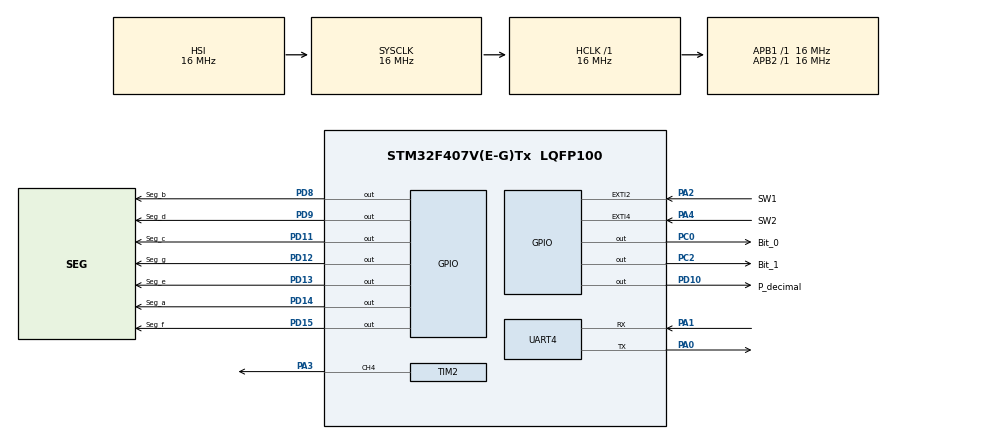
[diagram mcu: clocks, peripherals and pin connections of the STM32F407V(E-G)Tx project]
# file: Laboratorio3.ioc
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Mcu.Family=STM32F4
Mcu.Name=STM32F407V(E-G)Tx
Mcu.Package=LQFP100
NVIC.EXTI2_IRQn=true\:0\:0\:false\:false\:true\:true\:true\:true
NVIC.EXTI4_IRQn=true\:0\:0\:false\:false\:true\:true\:true\:true
NVIC.PriorityGroup=NVIC_PRIORITYGROUP_4
NVIC.TIM1_UP_TIM10_IRQn=true\:0\:0\:false\:false\:true\:true\:true\:true
NVIC.UART4_IRQn=true\:0\:0\:false\:false\:true\:true\:true\:true
PA0-WKUP.Mode=Asynchronous
PA0-WKUP.Signal=UART4_TX
PA1.Mode=Asynchronous
PA1.Signal=UART4_RX
PA2.GPIO_Label=SW1
PA2.GPIO_ModeDefaultEXTI=GPIO_MODE_IT_FALLING
PA2.Signal=GPXTI2
PA3.Signal=S_TIM2_CH4
PA4.GPIO_Label=SW2
PA4.GPIO_ModeDefaultEXTI=GPIO_MODE_IT_FALLING
PA4.Signal=GPXTI4
PC0.GPIO_Label=Bit_0
PC0.Signal=GPIO_Output
PC2.GPIO_Label=Bit_1
PC2.Signal=GPIO_Output
PD10.GPIO_Label=P_decimal
PD10.Signal=GPIO_Output
PD11.GPIO_Label=Seg_c
PD11.Signal=GPIO_Output
PD12.GPIO_Label=Seg_g
PD12.Signal=GPIO_Output
PD13.GPIO_Label=Seg_e
PD13.Signal=GPIO_Output
PD14.GPIO_Label=Seg_a
PD14.Signal=GPIO_Output
PD15.GPIO_Label=Seg_f
PD15.Signal=GPIO_Output
PD8.GPIO_Label=Seg_b
PD8.Signal=GPIO_Output
PD9.GPIO_Label=Seg_d
PD9.Signal=GPIO_Output
ProjectManager.HeapSize=0x200
ProjectManager.StackSize=0x400
ProjectManager.TargetToolchain=STM32CubeIDE
RCC.AHBFreq_Value=16000000
RCC.APB1Freq_Value=16000000
RCC.APB2Freq_Value=16000000
RCC.CortexFreq_Value=16000000
RCC.HSE_VALUE=25000000
RCC.HSI_VALUE=16000000
RCC.LSE_VALUE=32768
RCC.SYSCLKFreq_VALUE=16000000
RCC.VCOOutputFreq_Value=192000000
SH.S_TIM2_CH4.0=TIM2_CH4,PWM Generation4 CH4
TIM1.Period=31999
TIM2.Channel-PWM\ Generation4\ CH4=TIM_CHANNEL_4
TIM2.Period=7999
TIM2.Pulse-PWM\ Generation4\ CH4=4000
UART4.VirtualMode=Asynchronous
UART4.WordLength=WORDLENGTH_8B
VP_TIM1_VS_ClockSourceINT.Mode=Internal
VP_TIM2_VS_ClockSourceINT.Mode=Internal
board=custom

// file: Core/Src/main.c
/* USER CODE BEGIN Header */
/**
 ******************************************************************************
 * @file           : main.c
 * @brief          : Main program body
 ******************************************************************************
 * @attention
 *
 * Copyright (c) 2026 STMicroelectronics.
 * All rights reserved.
 *
 * This software is licensed under terms that can be found in the LICENSE file
 * in the root directory of this software component.
 * If no LICENSE file comes with this software, it is provided AS-IS.
 *
 ******************************************************************************
 */
/* USER CODE END Header */
#include "main.h"

/* USER CODE BEGIN Includes */
#include "uart.h"
#include "contador_display.h"
/* USER CODE END Includes */

/* USER CODE BEGIN PD */
#define T_REBOTE_MS 50U
/* USER CODE END PD */

TIM_HandleTypeDef htim1;
TIM_HandleTypeDef htim2;

UART_HandleTypeDef huart4;

/* USER CODE BEGIN PV */
volatile bool cambio = false;
volatile bool runtime = false;
volatile bool sw1 = false;
volatile bool sw2 = false;
volatile uint32_t last_sw1 = 0;
volatile uint32_t last_sw2 = 0;
volatile uint8_t indice = 0;
volatile uint8_t instruccion[10];
volatile bool fin_instruccion = false;
volatile bool fin_cronometro = false;
int segundos_recibidos = 0;
uint8_t mensaje;
uint8_t cronometro = 0;
uint8_t centesima = 0;
uint8_t segundos = 0;
uint8_t minutos = 0;
uint8_t alarma[] = "ALARMA\n";
uint8_t display[4] = {
		0,
		0,
		0,
		0
};
/* USER CODE END PV */

void SystemClock_Config(void);
static void MX_GPIO_Init(void);
static void MX_TIM1_Init(void);
static void MX_UART4_Init(void);
static void MX_TIM2_Init(void);
/* USER CODE BEGIN PFP */
//bool HayNuevaPulsacion(GPIO_TypeDef* PULSADOR,uint16_t PIN, GPIO_PinState* estado_valido);
/* USER CODE END PFP */

int main(void)
{

  /* USER CODE BEGIN 1 */
	//GPIO_PinState estado_valido1 = GPIO_PIN_SET;
	//GPIO_PinState estado_valido2 = GPIO_PIN_SET;

	uint32_t current_time1 = 0;
	uint32_t current_time2 = 0;
  /* USER CODE END 1 */

  /* MCU Configuration--------------------------------------------------------*/

  /* Reset of all peripherals, Initializes the Flash interface and the Systick. */
  HAL_Init();

  /* USER CODE BEGIN Init */
  __HAL_UART_CLEAR_OREFLAG(&huart4);
  __HAL_UART_FLUSH_DRREGISTER(&huart4);
  /* USER CODE END Init */

  /* Configure the system clock */
  SystemClock_Config();

  /* Initialize all configured peripherals */
  MX_GPIO_Init();
  MX_TIM1_Init();
  MX_UART4_Init();
  MX_TIM2_Init();
  /* USER CODE BEGIN 2 */
	HAL_TIM_Base_Start_IT(&htim1);
	HAL_UART_Receive_IT(&huart4, &mensaje, sizeof(uint8_t));
  /* USER CODE END 2 */

  /* Infinite loop */
  /* USER CODE BEGIN WHILE */
	while (1)
	{
		if(fin_instruccion)
		{
			ejecutar_instruccion();
		}
		if(sw1)
		{
			current_time1 = HAL_GetTick();
			if(current_time1-last_sw1 > T_REBOTE_MS)
			{
				if(HAL_GPIO_ReadPin(SW1_GPIO_Port, SW1_Pin) == GPIO_PIN_RESET)
				{
					if(runtime)
					{
						start_pause(2);
					}
					else
					{
						start_pause(1);
					}
				}
				sw1 = false;
				__HAL_GPIO_EXTI_CLEAR_IT(SW1_Pin);
				HAL_NVIC_ClearPendingIRQ(EXTI2_IRQn);
				HAL_NVIC_EnableIRQ(EXTI2_IRQn);
			}
		}
		if(sw2)
		{
			current_time2 = HAL_GetTick();
			if(current_time2-last_sw2 > T_REBOTE_MS)
			{
				if(HAL_GPIO_ReadPin(SW2_GPIO_Port, SW2_Pin) == GPIO_PIN_RESET && runtime == false)
				{
					restart();
				}
				sw2 = false;
				__HAL_GPIO_EXTI_CLEAR_IT(SW2_Pin);
				HAL_NVIC_ClearPendingIRQ(EXTI4_IRQn);
				HAL_NVIC_EnableIRQ(EXTI4_IRQn);
			}
		}
    /* USER CODE END WHILE */

	}
}

void SystemClock_Config(void)
{
  RCC_OscInitTypeDef RCC_OscInitStruct = {0};
  RCC_ClkInitTypeDef RCC_ClkInitStruct = {0};

  /** Configure the main internal regulator output voltage
  */
  __HAL_RCC_PWR_CLK_ENABLE();
  __HAL_PWR_VOLTAGESCALING_CONFIG(PWR_REGULATOR_VOLTAGE_SCALE1);

  /** Initializes the RCC Oscillators according to the specified parameters
  * in the RCC_OscInitTypeDef structure.
  */
  RCC_OscInitStruct.OscillatorType = RCC_OSCILLATORTYPE_HSI;
  RCC_OscInitStruct.HSIState = RCC_HSI_ON;
  RCC_OscInitStruct.HSICalibrationValue = RCC_HSICALIBRATION_DEFAULT;
  RCC_OscInitStruct.PLL.PLLState = RCC_PLL_NONE;
  if (HAL_RCC_OscConfig(&RCC_OscInitStruct) != HAL_OK)
  {
    Error_Handler();
  }

  /** Initializes the CPU, AHB and APB buses clocks
  */
  RCC_ClkInitStruct.ClockType = RCC_CLOCKTYPE_HCLK|RCC_CLOCKTYPE_SYSCLK
                              |RCC_CLOCKTYPE_PCLK1|RCC_CLOCKTYPE_PCLK2;
  RCC_ClkInitStruct.SYSCLKSource = RCC_SYSCLKSOURCE_HSI;
  RCC_ClkInitStruct.AHBCLKDivider = RCC_SYSCLK_DIV1;
  RCC_ClkInitStruct.APB1CLKDivider = RCC_HCLK_DIV1;
  RCC_ClkInitStruct.APB2CLKDivider = RCC_HCLK_DIV1;

  if (HAL_RCC_ClockConfig(&RCC_ClkInitStruct, FLASH_LATENCY_0) != HAL_OK)
  {
    Error_Handler();
  }
}

static void MX_TIM1_Init(void)
{

  TIM_ClockConfigTypeDef sClockSourceConfig = {0};
  TIM_MasterConfigTypeDef sMasterConfig = {0};

  htim1.Instance = TIM1;
  htim1.Init.Prescaler = 0;
  htim1.Init.CounterMode = TIM_COUNTERMODE_UP;
  htim1.Init.Period = 31999;
  htim1.Init.ClockDivision = TIM_CLOCKDIVISION_DIV1;
  htim1.Init.RepetitionCounter = 0;
  htim1.Init.AutoReloadPreload = TIM_AUTORELOAD_PRELOAD_DISABLE;
  if (HAL_TIM_Base_Init(&htim1) != HAL_OK)
  {
    Error_Handler();
  }
  sClockSourceConfig.ClockSource = TIM_CLOCKSOURCE_INTERNAL;
  if (HAL_TIM_ConfigClockSource(&htim1, &sClockSourceConfig) != HAL_OK)
  {
    Error_Handler();
  }
  sMasterConfig.MasterOutputTrigger = TIM_TRGO_RESET;
  sMasterConfig.MasterSlaveMode = TIM_MASTERSLAVEMODE_DISABLE;
  if (HAL_TIMEx_MasterConfigSynchronization(&htim1, &sMasterConfig) != HAL_OK)
  {
    Error_Handler();
  }

}

static void MX_TIM2_Init(void)
{

  TIM_ClockConfigTypeDef sClockSourceConfig = {0};
  TIM_MasterConfigTypeDef sMasterConfig = {0};
  TIM_OC_InitTypeDef sConfigOC = {0};

  htim2.Instance = TIM2;
  htim2.Init.Prescaler = 0;
  htim2.Init.CounterMode = TIM_COUNTERMODE_UP;
  htim2.Init.Period = 7999;
  htim2.Init.ClockDivision = TIM_CLOCKDIVISION_DIV1;
  htim2.Init.AutoReloadPreload = TIM_AUTORELOAD_PRELOAD_DISABLE;
  if (HAL_TIM_Base_Init(&htim2) != HAL_OK)
  {
    Error_Handler();
  }
  sClockSourceConfig.ClockSource = TIM_CLOCKSOURCE_INTERNAL;
  if (HAL_TIM_ConfigClockSource(&htim2, &sClockSourceConfig) != HAL_OK)
  {
    Error_Handler();
  }
  if (HAL_TIM_PWM_Init(&htim2) != HAL_OK)
  {
    Error_Handler();
  }
  sMasterConfig.MasterOutputTrigger = TIM_TRGO_RESET;
  sMasterConfig.MasterSlaveMode = TIM_MASTERSLAVEMODE_DISABLE;
  if (HAL_TIMEx_MasterConfigSynchronization(&htim2, &sMasterConfig) != HAL_OK)
  {
    Error_Handler();
  }
  sConfigOC.OCMode = TIM_OCMODE_PWM1;
  sConfigOC.Pulse = 4000;
  sConfigOC.OCPolarity = TIM_OCPOLARITY_HIGH;
  sConfigOC.OCFastMode = TIM_OCFAST_DISABLE;
  if (HAL_TIM_PWM_ConfigChannel(&htim2, &sConfigOC, TIM_CHANNEL_4) != HAL_OK)
  {
    Error_Handler();
  }
  HAL_TIM_MspPostInit(&htim2);

}

static void MX_UART4_Init(void)
{

  huart4.Instance = UART4;
  huart4.Init.BaudRate = 115200;
  huart4.Init.WordLength = UART_WORDLENGTH_8B;
  huart4.Init.StopBits = UART_STOPBITS_1;
  huart4.Init.Parity = UART_PARITY_NONE;
  huart4.Init.Mode = UART_MODE_TX_RX;
  huart4.Init.HwFlowCtl = UART_HWCONTROL_NONE;
  huart4.Init.OverSampling = UART_OVERSAMPLING_16;
  if (HAL_UART_Init(&huart4) != HAL_OK)
  {
    Error_Handler();
  }

}

static void MX_GPIO_Init(void)
{
  GPIO_InitTypeDef GPIO_InitStruct = {0};

  /* GPIO Ports Clock Enable */
  __HAL_RCC_GPIOC_CLK_ENABLE();
  __HAL_RCC_GPIOA_CLK_ENABLE();
  __HAL_RCC_GPIOD_CLK_ENABLE();

  /*Configure GPIO pin Output Level */
  HAL_GPIO_WritePin(GPIOC, Bit_0_Pin|Bit_1_Pin, GPIO_PIN_RESET);

  /*Configure GPIO pin Output Level */
  HAL_GPIO_WritePin(GPIOD, Seg_b_Pin|Seg_d_Pin|P_decimal_Pin|Seg_c_Pin
                          |Seg_g_Pin|Seg_e_Pin|Seg_a_Pin|Seg_f_Pin, GPIO_PIN_RESET);

  /*Configure GPIO pins : Bit_0_Pin Bit_1_Pin */
  GPIO_InitStruct.Pin = Bit_0_Pin|Bit_1_Pin;
  GPIO_InitStruct.Mode = GPIO_MODE_OUTPUT_PP;
  GPIO_InitStruct.Pull = GPIO_NOPULL;
  GPIO_InitStruct.Speed = GPIO_SPEED_FREQ_LOW;
  HAL_GPIO_Init(GPIOC, &GPIO_InitStruct);

  /*Configure GPIO pins : SW1_Pin SW2_Pin */
  GPIO_InitStruct.Pin = SW1_Pin|SW2_Pin;
  GPIO_InitStruct.Mode = GPIO_MODE_IT_FALLING;
  GPIO_InitStruct.Pull = GPIO_NOPULL;
  HAL_GPIO_Init(GPIOA, &GPIO_InitStruct);

  /*Configure GPIO pins : Seg_b_Pin Seg_d_Pin P_decimal_Pin Seg_c_Pin
                           Seg_g_Pin Seg_e_Pin Seg_a_Pin Seg_f_Pin */
  GPIO_InitStruct.Pin = Seg_b_Pin|Seg_d_Pin|P_decimal_Pin|Seg_c_Pin
                          |Seg_g_Pin|Seg_e_Pin|Seg_a_Pin|Seg_f_Pin;
  GPIO_InitStruct.Mode = GPIO_MODE_OUTPUT_PP;
  GPIO_InitStruct.Pull = GPIO_NOPULL;
  GPIO_InitStruct.Speed = GPIO_SPEED_FREQ_LOW;
  HAL_GPIO_Init(GPIOD, &GPIO_InitStruct);

  /* EXTI interrupt init*/
  HAL_NVIC_SetPriority(EXTI2_IRQn, 0, 0);
  HAL_NVIC_EnableIRQ(EXTI2_IRQn);

  HAL_NVIC_SetPriority(EXTI4_IRQn, 0, 0);
  HAL_NVIC_EnableIRQ(EXTI4_IRQn);

}

/* USER CODE BEGIN 4 */
/*void Display_SeleccionarDigito(uint8_t digito)
{

}*/

/*void HAL_UART_RxCpltCallback(UART_HandleTypeDef *huart)
{
	if(huart == &huart4)
	{
		if(mensaje == '\0')
		{
			instruccion[indice] = mensaje;
			fin_instruccion = true;
			indice = 0;
		}
		else if(indice < (sizeof(instruccion)-1))
		{
			instruccion[indice++] = mensaje;
		}
		HAL_UART_Receive_IT(&huart4, &mensaje, sizeof(uint8_t));
	}
}

void ejecutar_instruccion()
{
	int8_t num_instrc = -1;
	uint8_t error[] = "ERROR\n";
	uint8_t ok[] = "OK\n";
	uint8_t run[] = "RUNNING\n";
	uint8_t pause[] = "PAUSE\n";
	uint8_t estado[7];
	if(sscanf((char*)instruccion, "SET %d", &segundos_recibidos)==1)
	{
		if(segundos_recibidos >= 0 && segundos_recibidos<= 5999)
		{
			num_instrc = 0;
		}
	}
	else
	{
		num_instrc = (strcmp((char*)instruccion, "START")==0) ? 1 :
				     (strcmp((char*)instruccion, "PAUSE")==0) ? 2 :
				     (strcmp((char*)instruccion, "RESET")==0) ? 3 :
				     (strcmp((char*)instruccion, "STATUS")==0) ? 4 : -1;
	}
	switch (num_instrc) {
		case 0:
			if(!runtime)
			{
				HAL_UART_Transmit(&huart4, ok, strlen((char*)ok), 100);
				minutos = segundos_recibidos/60;
				segundos = segundos_recibidos%60;
				display[0] = segundos % 10;
				display[1] = segundos /10;
				display[2] = minutos % 10;
				display[3] = minutos /10;
			}
			else
			{
				HAL_UART_Transmit(&huart4, error, strlen((char*)error), 100);
			}
			fin_instruccion = false;
			break;
		case 1:
			HAL_UART_Transmit(&huart4, ok, strlen((char*)ok), 100);
			runtime = true;
			fin_instruccion = false;
			break;
		case 2:
			HAL_UART_Transmit(&huart4, ok, strlen((char*)ok), 100);
			runtime = false;
			fin_instruccion = false;
			break;
		case 3:
			HAL_UART_Transmit(&huart4, ok, strlen((char*)ok), 100);
			runtime = false;
			minutos = segundos_recibidos/60;
			segundos = segundos_recibidos%60;
			display[0] = segundos % 10;
			display[1] = segundos /10;
			display[2] = minutos % 10;
			display[3] = minutos /10;
			if(fin_cronometro)
			{
				fin_cronometro = false;
				HAL_TIM_PWM_Stop(&htim2, TIM_CHANNEL_4);
			}
			fin_instruccion = false;
			break;
		case 4:
			display_estado(estado);
			if(runtime)
			{
				HAL_UART_Transmit(&huart4, run, strlen((char*)run), 100);
				HAL_UART_Transmit(&huart4, estado, strlen((char*)estado), 100);
			}
			else
			{
				HAL_UART_Transmit(&huart4, pause, strlen((char*)pause), 100);
				HAL_UART_Transmit(&huart4, estado, strlen((char*)estado), 100);
			}
			fin_instruccion = false;
			break;
		case -1:
			HAL_UART_Transmit(&huart4, error, strlen((char*)error), 100);
			fin_instruccion = false;
			break;
		default:
			break;
	}
}*/

/*void display_estado(uint8_t* estado)
{
	estado[0] = display[3] + '0';
	estado[1] = display[2] + '0';
	estado[2] = '.';
	estado[3] = display[1] + '0';
	estado[4] = display[0] + '0';
	estado[5] = '\n';
	estado[6] = '\0';
}*/

void HAL_GPIO_EXTI_Callback(uint16_t GPIO_Pin)
{
	if(GPIO_Pin == SW1_Pin)
	{
		HAL_NVIC_DisableIRQ(EXTI2_IRQn);
		last_sw1 = HAL_GetTick();
		sw1 = true;
	}
	if(GPIO_Pin == SW2_Pin)
	{
		HAL_NVIC_DisableIRQ(EXTI4_IRQn);
		last_sw2 = HAL_GetTick();
		sw2 = true;
	}
}

/*void Display_EscribirPatron(uint8_t patron)
{
	uint8_t valores[10]={
			0x3f, // 0
			0x06, // 1
			0x5b, // 2
			0x4f, // 3
			0x66, // 4
			0x6d, // 5
			0x7d, // 6
			0x07, // 7
			0x7f, // 8
			0x6f  // 9
	};

	if(patron < 10)
	{
		HAL_GPIO_WritePin(Seg_a_GPIO_Port,Seg_a_Pin, (valores[patron] & (1 << 0) ? GPIO_PIN_SET : GPIO_PIN_RESET)); // segmento A
		HAL_GPIO_WritePin(Seg_b_GPIO_Port,Seg_b_Pin, (valores[patron] & (1 << 1) ? GPIO_PIN_SET : GPIO_PIN_RESET)); // segmento B
		HAL_GPIO_WritePin(Seg_c_GPIO_Port,Seg_c_Pin, (valores[patron] & (1 << 2) ? GPIO_PIN_SET : GPIO_PIN_RESET)); // segmento C
		HAL_GPIO_WritePin(Seg_d_GPIO_Port,Seg_d_Pin, (valores[patron] & (1 << 3) ? GPIO_PIN_SET : GPIO_PIN_RESET)); // segmento D
		HAL_GPIO_WritePin(Seg_e_GPIO_Port,Seg_e_Pin, (valores[patron] & (1 << 4) ? GPIO_PIN_SET : GPIO_PIN_RESET)); // segmento E
		HAL_GPIO_WritePin(Seg_f_GPIO_Port,Seg_f_Pin, (valores[patron] & (1 << 5) ? GPIO_PIN_SET : GPIO_PIN_RESET)); // segmento F
		HAL_GPIO_WritePin(Seg_g_GPIO_Port,Seg_g_Pin, (valores[patron] & (1 << 6) ? GPIO_PIN_SET : GPIO_PIN_RESET)); // segmento G
	}
}
void Display_Refrescar(uint8_t* numeros)
{
	static uint8_t contador = 0;
	Display_EscribirPatron(numeros[contador]);
	if (contador == 2)
	{
		HAL_GPIO_WritePin(P_decimal_GPIO_Port,P_decimal_Pin,GPIO_PIN_SET);
	}
	else
	{
		HAL_GPIO_WritePin(P_decimal_GPIO_Port,P_decimal_Pin,GPIO_PIN_RESET);
	}
	HAL_GPIO_WritePin(Bit_0_GPIO_Port,Bit_0_Pin, (contador & (1 << 0) ? GPIO_PIN_SET : GPIO_PIN_RESET));
	HAL_GPIO_WritePin(Bit_1_GPIO_Port,Bit_1_Pin, (contador & (1 << 1) ? GPIO_PIN_SET : GPIO_PIN_RESET));
	cambio = false;
	contador++;
	if (contador >= 4)
	{
		contador = 0;
	}
}

void HAL_TIM_PeriodElapsedCallback(TIM_HandleTypeDef *htim)
{
	if(htim->Instance == htim1.Instance)
	{
		cambio = true;
		Display_Refrescar(display);
		if(runtime)
		{
			cronometrar();
		}
	}

}

void cronometrar()
{
	cronometro++;
	if(cronometro == 5)
	{
		centesima++;
		cronometro = 0;
	}
	if(centesima == 100)
	{
		centesima = 0;
		if(segundos > 0)
		{
			segundos--;
		}
		else
		{
			if(minutos > 0)
			{
				minutos--;
				segundos = 59;
			}
			else
			{
				runtime = false;
				fin_cronometro = true;
				HAL_UART_Transmit(&huart4, alarma, strlen((char*)alarma), 100);
				HAL_TIM_PWM_Start(&htim2, TIM_CHANNEL_4);
			}
		}
	}
	display[0] = segundos % 10;
	display[1] = segundos /10;
	display[2] = minutos % 10;
	display[3] = minutos /10;
}*/

/*bool HayNuevaPulsacion(GPIO_TypeDef* PULSADOR,uint16_t PIN, GPIO_PinState* estado_valido)
{
	GPIO_PinState lectura1;
	GPIO_PinState lectura2;
	bool nueva_pulsacion = false;
	lectura1 = HAL_GPIO_ReadPin(PULSADOR, PIN);
	if(lectura1 != (*estado_valido))
	{
		HAL_Delay(T_REBOTE_MS);
		lectura2 = HAL_GPIO_ReadPin(PULSADOR, PIN);
		if(lectura2 == lectura1)
		{
			GPIO_PinState estado_anterior = *estado_valido;
			*estado_valido = lectura2;
			if((estado_anterior == GPIO_PIN_SET) && (*estado_valido == GPIO_PIN_RESET))
			{
				nueva_pulsacion = true;
			}
		}
	}
	return nueva_pulsacion;
}*/

/* USER CODE END 4 */

void Error_Handler(void)
{
	__disable_irq();
	while (1)
	{
	}
}
